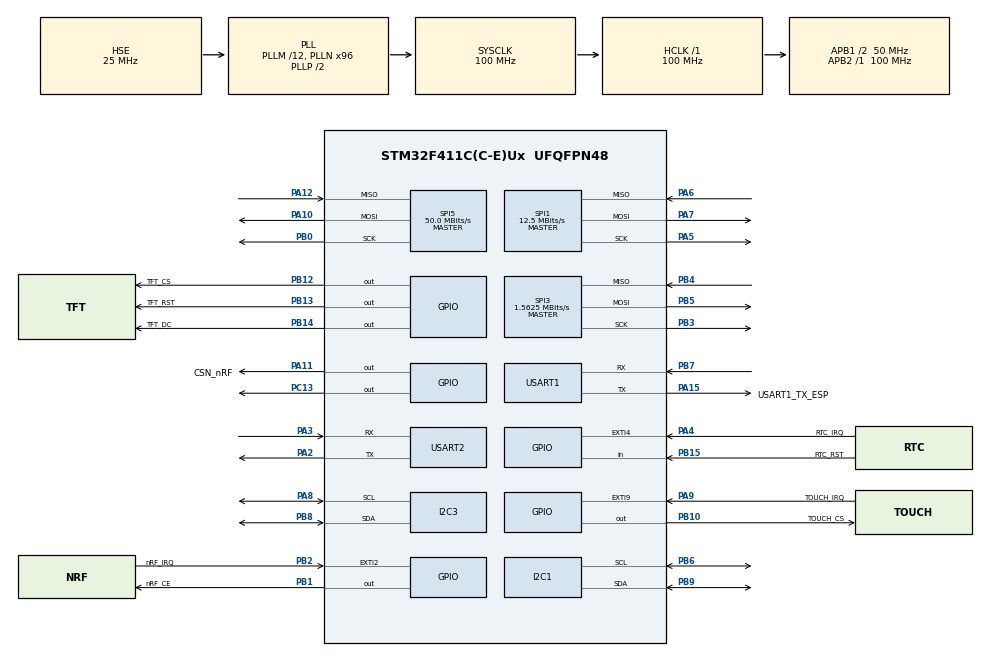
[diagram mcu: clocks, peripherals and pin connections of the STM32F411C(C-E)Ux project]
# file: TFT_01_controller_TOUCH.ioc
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Dma.I2C1_RX.2.Direction=DMA_PERIPH_TO_MEMORY
Dma.I2C1_RX.2.FIFOMode=DMA_FIFOMODE_DISABLE
Dma.I2C1_RX.2.Instance=DMA1_Stream0
Dma.I2C1_RX.2.MemDataAlignment=DMA_MDATAALIGN_BYTE
Dma.I2C1_RX.2.MemInc=DMA_MINC_ENABLE
Dma.I2C1_RX.2.Mode=DMA_NORMAL
Dma.I2C1_RX.2.PeriphDataAlignment=DMA_PDATAALIGN_BYTE
Dma.I2C1_RX.2.PeriphInc=DMA_PINC_DISABLE
Dma.I2C1_RX.2.Priority=DMA_PRIORITY_LOW
Dma.I2C1_TX.3.Direction=DMA_MEMORY_TO_PERIPH
Dma.I2C1_TX.3.FIFOMode=DMA_FIFOMODE_DISABLE
Dma.I2C1_TX.3.Instance=DMA1_Stream1
Dma.I2C1_TX.3.MemDataAlignment=DMA_MDATAALIGN_BYTE
Dma.I2C1_TX.3.MemInc=DMA_MINC_ENABLE
Dma.I2C1_TX.3.Mode=DMA_NORMAL
Dma.I2C1_TX.3.PeriphDataAlignment=DMA_PDATAALIGN_BYTE
Dma.I2C1_TX.3.PeriphInc=DMA_PINC_DISABLE
Dma.I2C1_TX.3.Priority=DMA_PRIORITY_LOW
Dma.Request0=USART2_RX
Dma.Request1=USART2_TX
Dma.Request2=I2C1_RX
Dma.Request3=I2C1_TX
Dma.USART2_RX.0.Direction=DMA_PERIPH_TO_MEMORY
Dma.USART2_RX.0.FIFOMode=DMA_FIFOMODE_DISABLE
Dma.USART2_RX.0.Instance=DMA1_Stream5
Dma.USART2_RX.0.MemDataAlignment=DMA_MDATAALIGN_BYTE
Dma.USART2_RX.0.MemInc=DMA_MINC_ENABLE
Dma.USART2_RX.0.Mode=DMA_NORMAL
Dma.USART2_RX.0.PeriphDataAlignment=DMA_PDATAALIGN_BYTE
Dma.USART2_RX.0.PeriphInc=DMA_PINC_DISABLE
Dma.USART2_RX.0.Priority=DMA_PRIORITY_LOW
Dma.USART2_TX.1.Direction=DMA_MEMORY_TO_PERIPH
Dma.USART2_TX.1.FIFOMode=DMA_FIFOMODE_DISABLE
Dma.USART2_TX.1.Instance=DMA1_Stream6
Dma.USART2_TX.1.MemDataAlignment=DMA_MDATAALIGN_BYTE
Dma.USART2_TX.1.MemInc=DMA_MINC_ENABLE
Dma.USART2_TX.1.Mode=DMA_NORMAL
Dma.USART2_TX.1.PeriphDataAlignment=DMA_PDATAALIGN_BYTE
Dma.USART2_TX.1.PeriphInc=DMA_PINC_DISABLE
Dma.USART2_TX.1.Priority=DMA_PRIORITY_LOW
I2C1.I2C_Mode=I2C_Fast
Mcu.Family=STM32F4
Mcu.Name=STM32F411C(C-E)Ux
Mcu.Package=UFQFPN48
NVIC.DMA1_Stream0_IRQn=true\:0\:0\:false\:false\:true\:false\:true
NVIC.DMA1_Stream1_IRQn=true\:0\:0\:false\:false\:true\:false\:true
NVIC.DMA1_Stream5_IRQn=true\:0\:0\:false\:false\:true\:false\:true
NVIC.DMA1_Stream6_IRQn=true\:0\:0\:false\:false\:true\:false\:true
NVIC.EXTI4_IRQn=true\:0\:0\:false\:true\:true\:1\:true\:true
NVIC.EXTI9_5_IRQn=true\:0\:0\:false\:true\:true\:2\:true\:true
NVIC.I2C1_ER_IRQn=true\:0\:0\:false\:false\:true\:true\:true
NVIC.I2C1_EV_IRQn=true\:0\:0\:false\:true\:true\:3\:true\:true
NVIC.PriorityGroup=NVIC_PRIORITYGROUP_4
NVIC.SPI3_IRQn=true\:0\:0\:false\:true\:true\:5\:true\:true
NVIC.TIM1_TRG_COM_TIM11_IRQn=true\:0\:0\:false\:false\:true\:true\:true
NVIC.TIM1_UP_TIM10_IRQn=true\:0\:0\:false\:false\:true\:true\:true
NVIC.USART2_IRQn=true\:0\:0\:false\:true\:true\:4\:true\:true
PA10.Mode=Full_Duplex_Master
PA10.Signal=SPI5_MOSI
PA11.GPIO_Label=CSN_nRF
PA11.Signal=GPIO_Output
PA12.Mode=Full_Duplex_Master
PA12.Signal=SPI5_MISO
PA15.GPIO_Label=USART1_TX_ESP
PA15.Mode=Asynchronous
PA15.Signal=USART1_TX
PA2.Mode=Asynchronous
PA2.Signal=USART2_TX
PA3.Mode=Asynchronous
PA3.Signal=USART2_RX
PA4.GPIO_Label=RTC_IRQ
PA4.GPIO_ModeDefaultEXTI=GPIO_MODE_IT_FALLING
PA4.GPIO_PuPd=GPIO_PULLUP
PA4.Signal=GPXTI4
PA5.Mode=Full_Duplex_Master
PA5.Signal=SPI1_SCK
PA6.Mode=Full_Duplex_Master
PA6.Signal=SPI1_MISO
PA7.Mode=Full_Duplex_Master
PA7.Signal=SPI1_MOSI
PA8.Mode=I2C
PA8.Signal=I2C3_SCL
PA9.GPIO_Label=TOUCH_IRQ
PA9.GPIO_ModeDefaultEXTI=GPIO_MODE_IT_FALLING
PA9.Signal=GPXTI9
PB0.Mode=Full_Duplex_Master
PB0.Signal=SPI5_SCK
PB1.GPIO_Label=nRF_CE
PB1.Signal=GPIO_Output
PB10.GPIO_Label=TOUCH_CS
PB10.Signal=GPIO_Output
PB12.GPIO_Label=TFT_CS
PB12.Signal=GPIO_Output
PB13.GPIO_Label=TFT_RST
PB13.Signal=GPIO_Output
PB14.GPIO_Label=TFT_DC
PB14.Signal=GPIO_Output
PB15.GPIO_Label=RTC_RST
PB15.Signal=GPIO_Input
PB2.GPIO_Label=nRF_IRQ
PB2.Signal=GPXTI2
PB3.Mode=Full_Duplex_Master
PB3.Signal=SPI3_SCK
PB4.Mode=Full_Duplex_Master
PB4.Signal=SPI3_MISO
PB5.Mode=Full_Duplex_Master
PB5.Signal=SPI3_MOSI
PB6.Mode=I2C
PB6.Signal=I2C1_SCL
PB7.Mode=Asynchronous
PB7.Signal=USART1_RX
PB8.Mode=I2C
PB8.Signal=I2C3_SDA
PB9.Mode=I2C
PB9.Signal=I2C1_SDA
PC13-ANTI_TAMP.Signal=GPIO_Output
PC14-OSC32_IN.Mode=LSE-External-Oscillator
PC14-OSC32_IN.Signal=RCC_OSC32_IN
PC15-OSC32_OUT.Mode=LSE-External-Oscillator
PC15-OSC32_OUT.Signal=RCC_OSC32_OUT
PH0\ -\ OSC_IN.Mode=HSE-External-Oscillator
PH0\ -\ OSC_IN.Signal=RCC_OSC_IN
PH1\ -\ OSC_OUT.Mode=HSE-External-Oscillator
PH1\ -\ OSC_OUT.Signal=RCC_OSC_OUT
ProjectManager.HeapSize=0x200
ProjectManager.StackSize=0x400
ProjectManager.TargetToolchain=STM32CubeIDE
RCC.48MHZClocksFreq_Value=50000000
RCC.AHBFreq_Value=100000000
RCC.APB1CLKDivider=RCC_HCLK_DIV2
RCC.APB1Freq_Value=50000000
RCC.APB1TimFreq_Value=100000000
RCC.APB2Freq_Value=100000000
RCC.APB2TimFreq_Value=100000000
RCC.CortexFreq_Value=100000000
RCC.HCLKFreq_Value=100000000
RCC.HSE_VALUE=25000000
RCC.HSI_VALUE=16000000
RCC.PLLM=12
RCC.PLLN=96
RCC.PLLSourceVirtual=RCC_PLLSOURCE_HSE
RCC.SYSCLKFreq_VALUE=100000000
RCC.SYSCLKSource=RCC_SYSCLKSOURCE_PLLCLK
RCC.VCOOutputFreq_Value=200000000
SPI1.BaudRatePrescaler=SPI_BAUDRATEPRESCALER_8
SPI1.CalculateBaudRate=12.5 MBits/s
SPI1.Direction=SPI_DIRECTION_2LINES
SPI1.Mode=SPI_MODE_MASTER
SPI1.VirtualType=VM_MASTER
SPI3.BaudRatePrescaler=SPI_BAUDRATEPRESCALER_32
SPI3.CalculateBaudRate=1.5625 MBits/s
SPI3.Direction=SPI_DIRECTION_2LINES
SPI3.Mode=SPI_MODE_MASTER
SPI3.VirtualType=VM_MASTER
SPI5.CalculateBaudRate=50.0 MBits/s
SPI5.Direction=SPI_DIRECTION_2LINES
SPI5.Mode=SPI_MODE_MASTER
SPI5.VirtualType=VM_MASTER
TIM10.Period=9999
TIM10.Prescaler=9999
TIM11.ClockDivision=TIM_CLOCKDIVISION_DIV4
TIM11.Period=29999
TIM11.Prescaler=14999
USART1.VirtualMode=VM_ASYNC
USART2.VirtualMode=VM_ASYNC
VP_TIM10_VS_ClockSourceINT.Mode=Enable_Timer
VP_TIM11_VS_ClockSourceINT.Mode=Enable_Timer
board=custom

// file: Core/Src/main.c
/* USER CODE BEGIN Header */
/**
  ******************************************************************************
  * @file           : main.c
  * @project		: free_michelle
  * @author			: grados73 - https://github.com/grados73
  * @purpose		: TFT touch display controller for communication interface with
  * 				  user for aquarium controller project named "FREE MICHELLE"
  * @todo			: Use confirmation of make orders
  * 				: Read PH
  * 				: Schedule of activity (need EEPROM memory)
  * 				: Online access by ESP with push messages
  * 				: UPS
  * 				: Watchdog
  * 				: Add on screen: printf("Compiled on %s, %s\n" __DATE__, __TIME__); uC gosu l 5.7
  *					: and printf("Error in file: %s, Function: %s, Line: %d\n", __FILE__, __func__, __LINE__);
  *					: pragma once or HeaderGuards in every .h file
  ******************************************************************************
  **/
/* USER CODE END Header */
#include "main.h"
#include "dma.h"
#include "i2c.h"
#include "spi.h"
#include "tim.h"
#include "usart.h"
#include "gpio.h"

/* USER CODE BEGIN Includes */
/* STANDARD LIBRARIES */
#include "string.h"
#include "stdio.h"
#include "stdlib.h"
/* PRRIVATE FILES */
#include "TFT_ILI9341.h"	//TFT
#include "GFX_Color.h"
#include "GFX_EnhancedFonts.h"
#include "XPT2064.h"	//touch
#include "functions.h"
#include "uartdma.h"
#include "parser.h"
#include "menuTFT.h"
#include "ds3231_for_stm32_hal.h"	//RTC
#include "eeprom.h"
/* PRRIVATE FONTS*/
#include "EnhancedFonts/arialBlack_20ptFontInfo.h"
#include "EnhancedFonts/arialBlack_11ptFontInfo.h"
#include "EnhancedFonts/ArialBlack_28pts_bold.h" // fonts without polish char! Warning!

/* USER CODE END Includes */

/* USER CODE BEGIN PV */
//
// Private Variables
//
UARTDMA_HandleTypeDef huartdma2;
I2C_HandleTypeDef hi2c1;
//
// To update current displayed clock - current TFT screen displayed
extern MenuTFTState State;
//
// To count time duration Activity
uint8_t FeedingCounter = 0;
/* USER CODE END PV */

void SystemClock_Config(void);
static void MX_NVIC_Init(void);

int main(void)
{

  /* MCU Configuration--------------------------------------------------------*/

  /* Reset of all peripherals, Initializes the Flash interface and the Systick. */
  HAL_Init();

  /* Configure the system clock */
  SystemClock_Config();

  /* Initialize all configured peripherals */
  MX_GPIO_Init();
  MX_SPI1_Init();
  MX_DMA_Init();
  MX_USART2_UART_Init();
  MX_SPI3_Init();
  MX_I2C1_Init();
  MX_TIM11_Init();
  MX_TIM10_Init();
  MX_I2C3_Init();
  MX_SPI5_Init();
  MX_USART1_UART_Init();

  /* Initialize interrupts */
  MX_NVIC_Init();
  /* USER CODE BEGIN 2 */
  //
  //Timer START
  HAL_TIM_Base_Start_IT(&htim11);
  // TFT controller INIT
  ILI9341_Init(&hspi1);
  // UART in DMA mode with use RingBuffer INIT
  UARTDMA_Init(&huartdma2, &huart2);
  // TFT touch controller INIT
  XPT2046_Init(&hspi3, EXTI9_5_IRQn);
  // RTC Initialization - I2C1
  DS3231_Init(&hi2c1);
  DS3231_SetInterruptMode(DS3231_ALARM_INTERRUPT);
  DS3231_EnableOscillator(DS3231_ENABLED);
  // EEPROM CHECK
  uint8_t result = 0;
  while (eeprom_read(0x01, &result, sizeof(result)) != HAL_OK)
  Error_Handler();
  /* USER CODE END 2 */

  /* Infinite loop */
  /* USER CODE BEGIN WHILE */
  while (1)
  {

	  //
	  // RECEIVE DATA FROM SECUND uC
	  //
	  if(UARTDMA_IsDataReceivedReady(&huartdma2))
	  {
		  UART_ParseLine(&huartdma2); // Parsing function
	  }

	  //
	  // TRANSMIT DATA AND COMAND TO SECOND uC
	  //
	  UARTDMA_TransmitEvent(&huartdma2);

	  //
	  // TOUCH SCREEN
	  //
	  XPT2046_Task();

	  //
	  // CURRENT DISPLAYED SCREEN
	  //
	  MenuTFT();

    /* USER CODE END WHILE */

  }
}

void SystemClock_Config(void)
{
  RCC_OscInitTypeDef RCC_OscInitStruct = {0};
  RCC_ClkInitTypeDef RCC_ClkInitStruct = {0};

  /** Configure the main internal regulator output voltage
  */
  __HAL_RCC_PWR_CLK_ENABLE();
  __HAL_PWR_VOLTAGESCALING_CONFIG(PWR_REGULATOR_VOLTAGE_SCALE1);
  /** Initializes the RCC Oscillators according to the specified parameters
  * in the RCC_OscInitTypeDef structure.
  */
  RCC_OscInitStruct.OscillatorType = RCC_OSCILLATORTYPE_HSE;
  RCC_OscInitStruct.HSEState = RCC_HSE_ON;
  RCC_OscInitStruct.PLL.PLLState = RCC_PLL_ON;
  RCC_OscInitStruct.PLL.PLLSource = RCC_PLLSOURCE_HSE;
  RCC_OscInitStruct.PLL.PLLM = 12;
  RCC_OscInitStruct.PLL.PLLN = 96;
  RCC_OscInitStruct.PLL.PLLP = RCC_PLLP_DIV2;
  RCC_OscInitStruct.PLL.PLLQ = 4;
  if (HAL_RCC_OscConfig(&RCC_OscInitStruct) != HAL_OK)
  {
    Error_Handler();
  }
  /** Initializes the CPU, AHB and APB buses clocks
  */
  RCC_ClkInitStruct.ClockType = RCC_CLOCKTYPE_HCLK|RCC_CLOCKTYPE_SYSCLK
                              |RCC_CLOCKTYPE_PCLK1|RCC_CLOCKTYPE_PCLK2;
  RCC_ClkInitStruct.SYSCLKSource = RCC_SYSCLKSOURCE_PLLCLK;
  RCC_ClkInitStruct.AHBCLKDivider = RCC_SYSCLK_DIV1;
  RCC_ClkInitStruct.APB1CLKDivider = RCC_HCLK_DIV2;
  RCC_ClkInitStruct.APB2CLKDivider = RCC_HCLK_DIV1;

  if (HAL_RCC_ClockConfig(&RCC_ClkInitStruct, FLASH_LATENCY_3) != HAL_OK)
  {
    Error_Handler();
  }
}

/**
  * @brief NVIC Configuration.
  * @retval None
  */
static void MX_NVIC_Init(void)
{
  /* EXTI4_IRQn interrupt configuration */
  HAL_NVIC_SetPriority(EXTI4_IRQn, 0, 0);
  HAL_NVIC_EnableIRQ(EXTI4_IRQn);
  /* EXTI9_5_IRQn interrupt configuration */
  HAL_NVIC_SetPriority(EXTI9_5_IRQn, 0, 0);
  HAL_NVIC_EnableIRQ(EXTI9_5_IRQn);
  /* I2C1_EV_IRQn interrupt configuration */
  HAL_NVIC_SetPriority(I2C1_EV_IRQn, 0, 0);
  HAL_NVIC_EnableIRQ(I2C1_EV_IRQn);
  /* USART2_IRQn interrupt configuration */
  HAL_NVIC_SetPriority(USART2_IRQn, 0, 0);
  HAL_NVIC_EnableIRQ(USART2_IRQn);
  /* SPI3_IRQn interrupt configuration */
  HAL_NVIC_SetPriority(SPI3_IRQn, 0, 0);
  HAL_NVIC_EnableIRQ(SPI3_IRQn);
}

/* USER CODE BEGIN 4 */
// Periodic interrupt from TIMERS Callback
void HAL_TIM_PeriodElapsedCallback(TIM_HandleTypeDef *htim)
{
	if(htim->Instance == TIM11) // Update event one per 8 seconds
	{
		ChangeHourOnScreen(); // Check if current showing hour are different from this from RTC and change it
	}
	if(htim->Instance == TIM10) // Update even each second - one per second 1/s
	{
		if(FeedingCounter >= FEEDING_TIME_IN_S) // timer to count seconds from start feeding to turn off this activity
		{
			HAL_GPIO_TogglePin(BP_USER_LED_GPIO_Port, BP_USER_LED_Pin);
			predefinedActivityKarmienie(0);
			FeedingCounter = 0;
			HAL_TIM_Base_Stop_IT(&htim10);

		}
		FeedingCounter++;
	}
}

// Output interrupt from GPIO etc. Callback
void HAL_GPIO_EXTI_Callback(uint16_t GPIO_Pin)
{
	if(GPIO_Pin == TOUCH_IRQ_Pin) // Interrupt from XPT2046 - touch screen controler
	{
		XPT2046_IRQ();
	}

	if(GPIO_Pin == RTC_IRQ_Pin) // Interrupt from RTC - alarm one per minute
	{
		DS3231_ClearAlarm2Flag();

	}
}

/* USER CODE END 4 */

void Error_Handler(void)
{
  /* USER CODE BEGIN Error_Handler_Debug */
  /* User can add his own implementation to report the HAL error return state */

	ILI9341_ClearDisplay(ILI9341_RED);
	EF_SetFont(&arial_11ptFontInfo);
	sprintf((char*)Msg, "Error in Function: %s\n", __FILE__);
	EF_PutString(Msg, ERROR_FILE_POZ_X, ERROR_FILE_POZ_Y, ILI9341_BLACK, BG_COLOR, ILI9341_RED);
	sprintf((char*)Msg, "Function: %s, Line: %d\n",__func__, (int)__LINE__);
	EF_PutString(Msg, ERROR_FUNC_AND_LINE_POZ_X, ERROR_FUNC_AND_LINE_POZ_Y, ILI9341_BLACK, BG_COLOR, ILI9341_RED);

  __disable_irq();

  while (1)
  {
  }
  /* USER CODE END Error_Handler_Debug */
}
